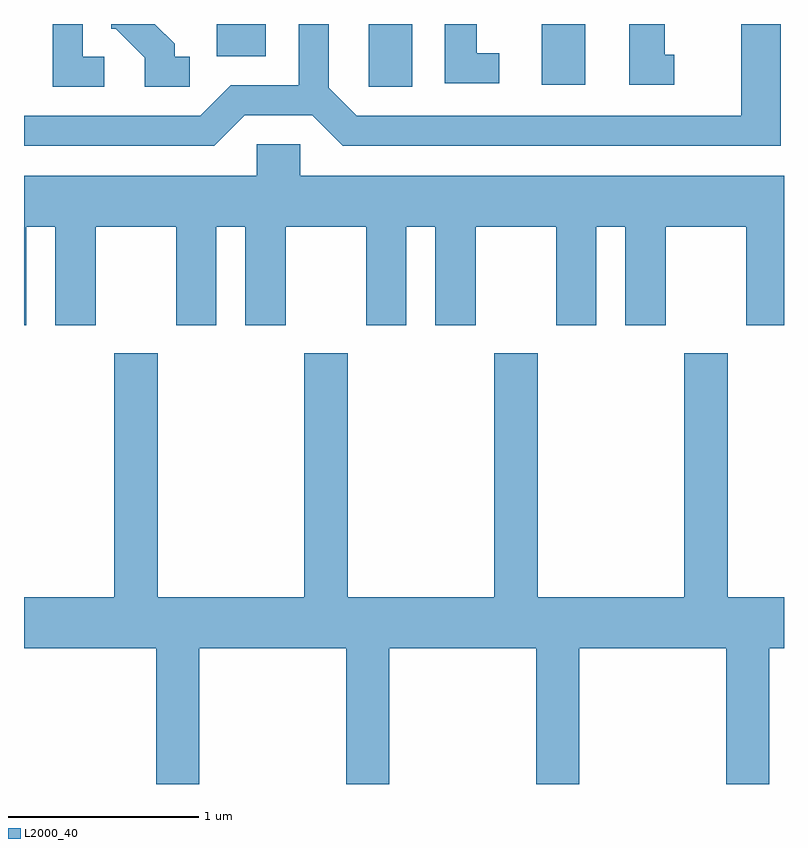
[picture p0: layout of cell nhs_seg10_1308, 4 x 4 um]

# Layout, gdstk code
import gdstk
lib = gdstk.Library(unit=1e-6, precision=1e-09)
def R(c, l, rs):  # rectangles x0, y0, x1, y1
    for r in rs: c.add(gdstk.rectangle(r[:2], r[2:], *l))
def P(c, l, *ps):  # polygons
    for p in ps: c.add(gdstk.Polygon(p, *l))
L2000_40 = (2000, 40)

nhs_seg10_1308 = lib.new_cell('nhs_seg10_1308')
R(nhs_seg10_1308, L2000_40, [(225.426,2130.191,225.654,2130.522), (226.336,2130.201,226.564,2130.522), (224.626,2130.351,224.884,2130.522)])
P(nhs_seg10_1308, L2000_40, [(227.033,2130.359),(226.984,2130.359),(226.984,2130.522),(226.796,2130.522),(226.796,2130.201),(227.033,2130.201)],
  [(224.772,2130.041),(225.129,2130.041),(225.289,2129.881),(227.594,2129.881),(227.594,2130.522),(227.386,2130.522),(227.386,2130.039),(225.362,2130.039),(225.214,2130.187),(225.214,2130.522),(225.056,2130.522),(225.056,2130.199),(224.699,2130.199),(224.539,2130.039),(223.611,2130.039),(223.611,2129.881),(224.612,2129.881)],
  [(224.033,2130.349),(223.919,2130.349),(223.919,2130.522),(223.761,2130.522),(223.761,2130.191),(224.033,2130.191)],
  [(226.113,2130.369),(225.994,2130.369),(225.994,2130.522),(225.826,2130.522),(225.826,2130.211),(226.113,2130.211)],
  [(224.483,2130.349),(224.404,2130.349),(224.404,2130.417),(224.299,2130.522),(224.071,2130.522),(224.071,2130.496),(224.094,2130.496),(224.246,2130.344),(224.246,2130.191),(224.483,2130.191)],
  [(223.611,2128.936),(223.624,2128.936),(223.624,2129.456),(223.776,2129.456),(223.776,2128.936),(223.989,2128.936),(223.989,2129.456),(224.411,2129.456),(224.411,2128.936),(224.624,2128.936),(224.624,2129.456),(224.776,2129.456),(224.776,2128.936),(224.989,2128.936),(224.989,2129.456),(225.411,2129.456),(225.411,2128.936),(225.624,2128.936),(225.624,2129.456),(225.776,2129.456),(225.776,2128.936),(225.989,2128.936),(225.989,2129.456),(226.411,2129.456),(226.411,2128.936),(226.624,2128.936),(226.624,2129.456),(226.776,2129.456),(226.776,2128.936),(226.989,2128.936),(226.989,2129.456),(227.411,2129.456),(227.411,2128.936),(227.611,2128.936),(227.611,2129.724),(225.064,2129.724),(225.064,2129.889),(224.836,2129.889),(224.836,2129.724),(223.611,2129.724)],
  [(224.534,2127.236),(225.306,2127.236),(225.306,2126.522),(225.534,2126.522),(225.534,2127.236),(226.306,2127.236),(226.306,2126.522),(226.534,2126.522),(226.534,2127.236),(227.306,2127.236),(227.306,2126.522),(227.534,2126.522),(227.534,2127.236),(227.611,2127.236),(227.611,2127.504),(227.314,2127.504),(227.314,2128.789),(227.086,2128.789),(227.086,2127.504),(226.314,2127.504),(226.314,2128.789),(226.086,2128.789),(226.086,2127.504),(225.314,2127.504),(225.314,2128.789),(225.086,2128.789),(225.086,2127.504),(224.314,2127.504),(224.314,2128.789),(224.086,2128.789),(224.086,2127.504),(223.611,2127.504),(223.611,2127.236),(224.306,2127.236),(224.306,2126.522),(224.534,2126.522)])

lib.write_gds('nhs_seg10_1308.gds')
